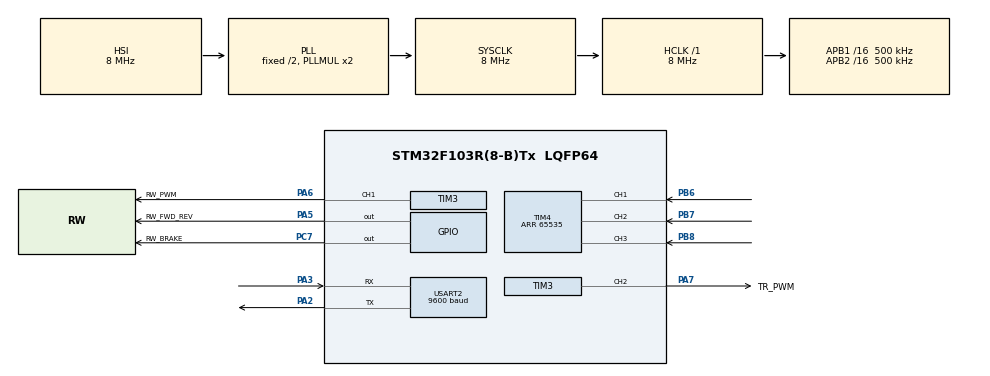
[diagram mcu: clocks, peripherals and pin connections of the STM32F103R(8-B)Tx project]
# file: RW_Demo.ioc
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Mcu.Family=STM32F1
Mcu.Name=STM32F103R(8-B)Tx
Mcu.Package=LQFP64
NVIC.PriorityGroup=NVIC_PRIORITYGROUP_4
NVIC.TIM4_IRQn=true\:0\:0\:false\:false\:true\:true\:true
PA2.Mode=Asynchronous
PA2.Signal=USART2_TX
PA3.Mode=Asynchronous
PA3.Signal=USART2_RX
PA5.GPIO_Label=RW_FWD_REV
PA5.Signal=GPIO_Output
PA6.GPIO_Label=RW_PWM
PA6.Signal=S_TIM3_CH1
PA7.GPIO_Label=TR_PWM
PA7.Signal=S_TIM3_CH2
PB6.Signal=S_TIM4_CH1
PB7.Signal=S_TIM4_CH2
PB8.Signal=S_TIM4_CH3
PC7.GPIO_Label=RW_BRAKE
PC7.Signal=GPIO_Output
ProjectManager.HeapSize=0x200
ProjectManager.StackSize=0x400
ProjectManager.TargetToolchain=MDK-ARM V5
RCC.AHBFreq_Value=8000000
RCC.APB1CLKDivider=RCC_HCLK_DIV16
RCC.APB1Freq_Value=500000
RCC.APB1TimFreq_Value=1000000
RCC.APB2CLKDivider=RCC_HCLK_DIV16
RCC.APB2Freq_Value=500000
RCC.APB2TimFreq_Value=1000000
RCC.HCLKFreq_Value=8000000
RCC.RTCClockSelection=RCC_RTCCLKSOURCE_LSE
RCC.SYSCLKFreq_VALUE=8000000
RCC.SYSCLKSource=RCC_SYSCLKSOURCE_PLLCLK
RCC.USBFreq_Value=8000000
SH.S_TIM3_CH1.0=TIM3_CH1,PWM Generation1 CH1
SH.S_TIM3_CH2.0=TIM3_CH2,PWM Generation2 CH2
SH.S_TIM4_CH1.0=TIM4_CH1,Xored_Inputs_Hall_Sensor_Interface
SH.S_TIM4_CH2.0=TIM4_CH2,Xored_Inputs_Hall_Sensor_Interface
SH.S_TIM4_CH3.0=TIM4_CH3,Xored_Inputs_Hall_Sensor_Interface
TIM3.Channel-PWM\ Generation1\ CH1=TIM_CHANNEL_1
TIM3.Channel-PWM\ Generation2\ CH2=TIM_CHANNEL_2
TIM3.ClockDivision=TIM_CLOCKDIVISION_DIV1
TIM3.Period=1000
TIM4.Period=65535
USART2.BaudRate=9600
USART2.VirtualMode=VM_ASYNC
VP_SYS_VS_ND.Mode=No_Debug
VP_TIM3_VS_ClockSourceINT.Mode=Internal
VP_TIM4_VS_ClockSourceINT.Mode=Internal
board=NUCLEO-F103RB

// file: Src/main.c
/* USER CODE BEGIN Header */
/**
  ******************************************************************************
  * @file           : main.c
  * @brief          : Main program body
  ******************************************************************************
  * @attention
  *
  * <h2><center>&copy; Copyright (c) 2019 STMicroelectronics.
  * All rights reserved.</center></h2>
  *
  * This software component is licensed by ST under BSD 3-Clause license,
  * the "License"; You may not use this file except in compliance with the
  * License. You may obtain a copy of the License at:
  *                        opensource.org/licenses/BSD-3-Clause
  *
  ******************************************************************************
  */
/* USER CODE END Header */

#include "main.h"

/* USER CODE BEGIN Includes */
#include <string.h>
#include <stdlib.h>
#include <Actuator_Lib.h>

/* USER CODE END Includes */

/* USER CODE BEGIN PD */
//#define COMMAND_LINE
#define MATLAB

#define RPM2RADPS 0.10472f

/* USER CODE END PD */

TIM_HandleTypeDef htim3;
TIM_HandleTypeDef htim4;

UART_HandleTypeDef huart2;

void SystemClock_Config(void);
static void MX_GPIO_Init(void);
static void MX_TIM3_Init(void);
static void MX_TIM4_Init(void);
static void MX_USART2_UART_Init(void);

int main(void)
{

  /* MCU Configuration--------------------------------------------------------*/

  /* Reset of all peripherals, Initializes the Flash interface and the Systick. */
  HAL_Init();

  /* Configure the system clock */
  SystemClock_Config();

  /* Initialize all configured peripherals */
  MX_GPIO_Init();
  MX_TIM3_Init();
  MX_TIM4_Init();
  MX_USART2_UART_Init();
  /* USER CODE BEGIN 2 */

	char send[200];
	char rec[100];

	float rw_pwm;
	uint8_t rw_brake, send_speed;

	initActuators(&htim3, &htim4);
	rw_init(RW_FWD_REV_Pin, RW_FWD_REV_GPIO_Port, RW_BRAKE_Pin, RW_BRAKE_GPIO_Port);

	float measured_speed = 0;

  /* USER CODE END 2 */

  /* Infinite loop */
  /* USER CODE BEGIN WHILE */
	#ifdef COMMAND_LINE
	sprintf(send, "REACTION WHEEL TEST PROGRAM\nEnter PWMs from -100 to 100 and press ENTER\nAppend a 'b' at the end to enable brake, e.g. 50b\nPress 's' to read speed in RPM\n");
	HAL_UART_Transmit(&huart2, (uint8_t*)send, strlen(send), 200);
	#endif

  while (1)
  {
    /* USER CODE END WHILE */

    /* USER CODE BEGIN 3 */
		#ifdef COMMAND_LINE
		sprintf(send, "-> ");
		HAL_UART_Transmit(&huart2, (uint8_t*)send, strlen(send), 40);
		#endif

		int i = 0;
		send_speed = 0;
		while(1) {
			rw_get_speed(&measured_speed);

			if(HAL_UART_Receive(&huart2, (uint8_t*)&rec[i], 1, 50) == HAL_OK) {
				#ifdef COMMAND_LINE
				HAL_UART_Transmit(&huart2, (uint8_t*)&rec[i], 1, 10);
				#endif
				if(rec[i] == '\n') {
					if(rec[i-1] == 'b') {
						rec[i-1] = '\0';
						rw_brake = 1;
					}
					else if(rec[i-2] == 'b') {
						rec[i-2] = '\0';
						rw_brake = 1;
					}
					else {
						rec[i] = '\0';
						rw_brake = 0;
					}
					break;
				}
				else if(rec[i] == 's') {
					send_speed = 1;
					break;
				}

				i++;
			}
		}

		rw_pwm = atof(rec);
		if(rw_pwm > 100) rw_pwm = 100;
		else if(rw_pwm < -100) rw_pwm = -100;

		#ifdef COMMAND_LINE
		sprintf(send, "rw_pwm = %6.2f\nBrake: %d\n", rw_pwm, rw_brake);
		HAL_UART_Transmit(&huart2, (uint8_t*)send, strlen(send), 50);
		#endif

		#ifdef MATLAB
		sprintf(send, "%.2f\n", RPM2RADPS*measured_speed);
		HAL_UART_Transmit(&huart2, (uint8_t*)send, strlen(send), 50);
		#endif

		if(send_speed) {
			sprintf(send, "%.2f [RPM]\n", measured_speed);
			HAL_UART_Transmit(&huart2, (uint8_t*)send, strlen(send), 50);
		}
		else {
			rw_set_speed(rw_pwm, rw_brake);
		}
  }
  /* USER CODE END 3 */
}

void SystemClock_Config(void)
{
  RCC_OscInitTypeDef RCC_OscInitStruct = {0};
  RCC_ClkInitTypeDef RCC_ClkInitStruct = {0};

  /** Initializes the CPU, AHB and APB busses clocks
  */
  RCC_OscInitStruct.OscillatorType = RCC_OSCILLATORTYPE_HSI;
  RCC_OscInitStruct.HSIState = RCC_HSI_ON;
  RCC_OscInitStruct.HSICalibrationValue = RCC_HSICALIBRATION_DEFAULT;
  RCC_OscInitStruct.PLL.PLLState = RCC_PLL_ON;
  RCC_OscInitStruct.PLL.PLLSource = RCC_PLLSOURCE_HSI_DIV2;
  RCC_OscInitStruct.PLL.PLLMUL = RCC_PLL_MUL2;
  if (HAL_RCC_OscConfig(&RCC_OscInitStruct) != HAL_OK)
  {
    Error_Handler();
  }
  /** Initializes the CPU, AHB and APB busses clocks
  */
  RCC_ClkInitStruct.ClockType = RCC_CLOCKTYPE_HCLK|RCC_CLOCKTYPE_SYSCLK
                              |RCC_CLOCKTYPE_PCLK1|RCC_CLOCKTYPE_PCLK2;
  RCC_ClkInitStruct.SYSCLKSource = RCC_SYSCLKSOURCE_PLLCLK;
  RCC_ClkInitStruct.AHBCLKDivider = RCC_SYSCLK_DIV1;
  RCC_ClkInitStruct.APB1CLKDivider = RCC_HCLK_DIV16;
  RCC_ClkInitStruct.APB2CLKDivider = RCC_HCLK_DIV16;

  if (HAL_RCC_ClockConfig(&RCC_ClkInitStruct, FLASH_LATENCY_0) != HAL_OK)
  {
    Error_Handler();
  }
}

static void MX_TIM3_Init(void)
{

  TIM_ClockConfigTypeDef sClockSourceConfig = {0};
  TIM_MasterConfigTypeDef sMasterConfig = {0};
  TIM_OC_InitTypeDef sConfigOC = {0};

  htim3.Instance = TIM3;
  htim3.Init.Prescaler = 0;
  htim3.Init.CounterMode = TIM_COUNTERMODE_UP;
  htim3.Init.Period = 1000;
  htim3.Init.ClockDivision = TIM_CLOCKDIVISION_DIV1;
  htim3.Init.AutoReloadPreload = TIM_AUTORELOAD_PRELOAD_DISABLE;
  if (HAL_TIM_Base_Init(&htim3) != HAL_OK)
  {
    Error_Handler();
  }
  sClockSourceConfig.ClockSource = TIM_CLOCKSOURCE_INTERNAL;
  if (HAL_TIM_ConfigClockSource(&htim3, &sClockSourceConfig) != HAL_OK)
  {
    Error_Handler();
  }
  if (HAL_TIM_PWM_Init(&htim3) != HAL_OK)
  {
    Error_Handler();
  }
  sMasterConfig.MasterOutputTrigger = TIM_TRGO_RESET;
  sMasterConfig.MasterSlaveMode = TIM_MASTERSLAVEMODE_DISABLE;
  if (HAL_TIMEx_MasterConfigSynchronization(&htim3, &sMasterConfig) != HAL_OK)
  {
    Error_Handler();
  }
  sConfigOC.OCMode = TIM_OCMODE_PWM1;
  sConfigOC.Pulse = 0;
  sConfigOC.OCPolarity = TIM_OCPOLARITY_HIGH;
  sConfigOC.OCFastMode = TIM_OCFAST_DISABLE;
  if (HAL_TIM_PWM_ConfigChannel(&htim3, &sConfigOC, TIM_CHANNEL_1) != HAL_OK)
  {
    Error_Handler();
  }
  if (HAL_TIM_PWM_ConfigChannel(&htim3, &sConfigOC, TIM_CHANNEL_2) != HAL_OK)
  {
    Error_Handler();
  }
  HAL_TIM_MspPostInit(&htim3);

}

static void MX_TIM4_Init(void)
{

  TIM_ClockConfigTypeDef sClockSourceConfig = {0};
  TIM_HallSensor_InitTypeDef sConfig = {0};
  TIM_MasterConfigTypeDef sMasterConfig = {0};

  htim4.Instance = TIM4;
  htim4.Init.Prescaler = 0;
  htim4.Init.CounterMode = TIM_COUNTERMODE_UP;
  htim4.Init.Period = 65535;
  htim4.Init.ClockDivision = TIM_CLOCKDIVISION_DIV1;
  htim4.Init.AutoReloadPreload = TIM_AUTORELOAD_PRELOAD_DISABLE;
  if (HAL_TIM_Base_Init(&htim4) != HAL_OK)
  {
    Error_Handler();
  }
  sClockSourceConfig.ClockSource = TIM_CLOCKSOURCE_INTERNAL;
  if (HAL_TIM_ConfigClockSource(&htim4, &sClockSourceConfig) != HAL_OK)
  {
    Error_Handler();
  }
  sConfig.IC1Polarity = TIM_ICPOLARITY_RISING;
  sConfig.IC1Prescaler = TIM_ICPSC_DIV1;
  sConfig.IC1Filter = 0;
  sConfig.Commutation_Delay = 0;
  if (HAL_TIMEx_HallSensor_Init(&htim4, &sConfig) != HAL_OK)
  {
    Error_Handler();
  }
  sMasterConfig.MasterOutputTrigger = TIM_TRGO_OC2REF;
  sMasterConfig.MasterSlaveMode = TIM_MASTERSLAVEMODE_DISABLE;
  if (HAL_TIMEx_MasterConfigSynchronization(&htim4, &sMasterConfig) != HAL_OK)
  {
    Error_Handler();
  }

}

static void MX_USART2_UART_Init(void)
{

  huart2.Instance = USART2;
  huart2.Init.BaudRate = 9600;
  huart2.Init.WordLength = UART_WORDLENGTH_8B;
  huart2.Init.StopBits = UART_STOPBITS_1;
  huart2.Init.Parity = UART_PARITY_NONE;
  huart2.Init.Mode = UART_MODE_TX_RX;
  huart2.Init.HwFlowCtl = UART_HWCONTROL_NONE;
  huart2.Init.OverSampling = UART_OVERSAMPLING_16;
  if (HAL_UART_Init(&huart2) != HAL_OK)
  {
    Error_Handler();
  }

}

static void MX_GPIO_Init(void)
{
  GPIO_InitTypeDef GPIO_InitStruct = {0};

  /* GPIO Ports Clock Enable */
  __HAL_RCC_GPIOA_CLK_ENABLE();
  __HAL_RCC_GPIOC_CLK_ENABLE();
  __HAL_RCC_GPIOB_CLK_ENABLE();

  /*Configure GPIO pin Output Level */
  HAL_GPIO_WritePin(RW_FWD_REV_GPIO_Port, RW_FWD_REV_Pin, GPIO_PIN_RESET);

  /*Configure GPIO pin Output Level */
  HAL_GPIO_WritePin(RW_BRAKE_GPIO_Port, RW_BRAKE_Pin, GPIO_PIN_RESET);

  /*Configure GPIO pin : RW_FWD_REV_Pin */
  GPIO_InitStruct.Pin = RW_FWD_REV_Pin;
  GPIO_InitStruct.Mode = GPIO_MODE_OUTPUT_PP;
  GPIO_InitStruct.Pull = GPIO_NOPULL;
  GPIO_InitStruct.Speed = GPIO_SPEED_FREQ_LOW;
  HAL_GPIO_Init(RW_FWD_REV_GPIO_Port, &GPIO_InitStruct);

  /*Configure GPIO pin : RW_BRAKE_Pin */
  GPIO_InitStruct.Pin = RW_BRAKE_Pin;
  GPIO_InitStruct.Mode = GPIO_MODE_OUTPUT_PP;
  GPIO_InitStruct.Pull = GPIO_NOPULL;
  GPIO_InitStruct.Speed = GPIO_SPEED_FREQ_LOW;
  HAL_GPIO_Init(RW_BRAKE_GPIO_Port, &GPIO_InitStruct);

}

void Error_Handler(void)
{
}

/************************ (C) COPYRIGHT STMicroelectronics *****END OF FILE****/
